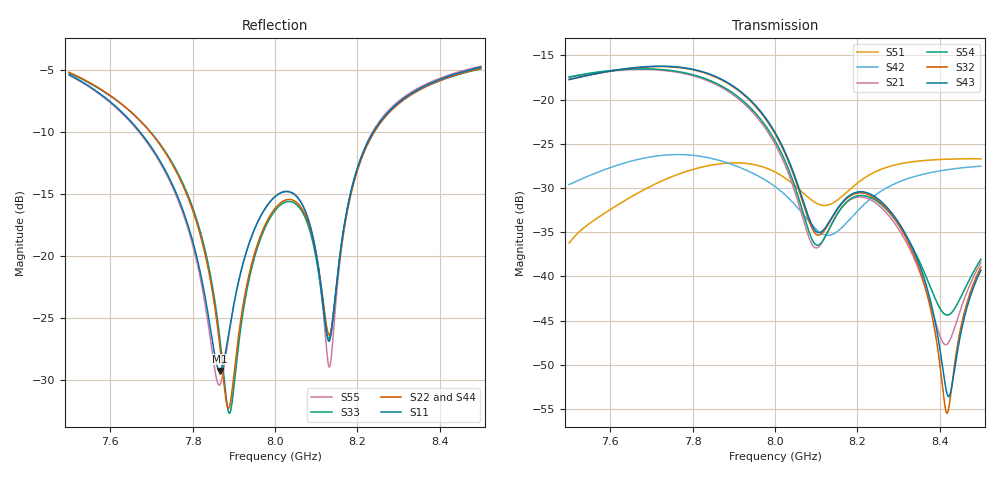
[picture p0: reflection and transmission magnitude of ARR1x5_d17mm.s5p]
! Touchstone file exported from HFSS 2025.1.0
!  File:  C:/Users/user/Documents/Ansoft/TFG_UWB-MIMO-Array.aedt
!  Generated:  08:09:00 PM Nov 16, 2026
!  Design:  ARR1x5_US3_PS4_2_1_dparam
!  Project:  TFG_UWB-MIMO-Array
!  Setup:  Setup_ch9
!  Solution:  Sweep_7p5_8p5
! Variables:
!  arr_d = 17mm
!  board_m = 13mm
!  board_x = 94mm
!  board_y = 26mm
!  cu_t = 0.035mm
!  line_w = 3.92mm
!  pad_xy = 22mm
!  pad_zn = 25mm
!  pad_zp = 33mm
!  par_L = 7.46mm
!  par_W = 10mm
!  par_yc = 0.75mm
!  par_z = 1.035mm
!  patch_L = 6.222mm
!  patch_W = 11.421266mm
!  sub_h = 2.07mm
!  tr_l = 6.6mm
!  tr_w = 0.8mm
!  u_Lu = 2.65mm
!  u_Wu = 4.4mm
!  u_t = 0.8mm
!  u_y0 = -0.7mm
# GHz S MA R 50.000000
! Terminal data exported
! Port[1] = P1
! Port[2] = P2
! Port[3] = P3
! Port[4] = P4
! Port[5] = P5
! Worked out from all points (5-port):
!   1001 points, 7.5 GHz to 8.5 GHz, reference 50 ohm
!   strongest paths, dB at 7.5 GHz, 7.75 GHz, 8 GHz, 8.25 GHz, 8.5 GHz:
!     S43: -17.7, -16.3, -23.7, -31.2, -39.3
!     S32: -17.7, -16.3, -23.9, -31.4, -39.0
!     S54: -17.4, -16.7, -24.7, -31.6, -38.1
!     S21: -17.5, -16.8, -25.0, -31.9, -38.5
!     S42: -29.6, -26.2, -29.8, -30.6, -27.5
!     S51: -36.2, -28.7, -28.2, -28.0, -26.7
!   lowest |S11| = -29.3 dB at 7.866 GHz (marker M1), VSWR 1.07, Z = 47.2 + j1.73 ohm
!   |S11| at or under -10 dB: 7.673 GHz to 8.239 GHz (566 MHz wide, 7.11 % of centre)
